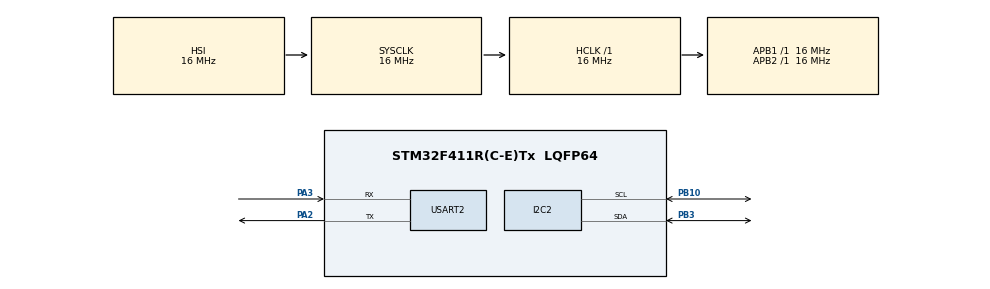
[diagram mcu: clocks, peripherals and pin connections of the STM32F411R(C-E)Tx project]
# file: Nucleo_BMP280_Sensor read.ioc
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Mcu.Family=STM32F4
Mcu.Name=STM32F411R(C-E)Tx
Mcu.Package=LQFP64
NVIC.PriorityGroup=NVIC_PRIORITYGROUP_4
PA2.Mode=Asynchronous
PA2.Signal=USART2_TX
PA3.Mode=Asynchronous
PA3.Signal=USART2_RX
PB10.Mode=I2C
PB10.Signal=I2C2_SCL
PB3.Mode=I2C
PB3.Signal=I2C2_SDA
ProjectManager.HeapSize=0x200
ProjectManager.StackSize=0x400
ProjectManager.TargetToolchain=STM32CubeIDE
RCC.AHBFreq_Value=16000000
RCC.APB1Freq_Value=16000000
RCC.APB2Freq_Value=16000000
RCC.CortexFreq_Value=16000000
RCC.HSE_VALUE=25000000
RCC.HSI_VALUE=16000000
RCC.LSE_VALUE=32768
RCC.SYSCLKFreq_VALUE=16000000
RCC.VCOOutputFreq_Value=192000000
USART2.VirtualMode=VM_ASYNC
board=custom

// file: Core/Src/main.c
/* USER CODE BEGIN Header */
/**
  ******************************************************************************
  * @file           : main.c
  * @brief          : Main program body
  ******************************************************************************
  * @attention
  *
  * Copyright (c) 2024 STMicroelectronics.
  * All rights reserved.
  *
  * This software is licensed under terms that can be found in the LICENSE file
  * in the root directory of this software component.
  * If no LICENSE file comes with this software, it is provided AS-IS.
  *
  ******************************************************************************
  */
/* USER CODE END Header */
#include "main.h"

/* USER CODE BEGIN Includes */
#include <math.h>
#include <string.h>
#include <stdio.h>
//#include "BMP280_STM32.h"
#include "BMP280_STM32.h"
/* USER CODE END Includes */

I2C_HandleTypeDef hi2c2;

UART_HandleTypeDef huart2;

/* USER CODE BEGIN PV */
char text2[250];

float Temperature, Pressure, Humidity;
uint8_t txt1[50] = " ";
uint8_t ack;
extern float temperature, pressure, altitude;
extern float init_height;
/* USER CODE END PV */

void SystemClock_Config(void);
static void MX_GPIO_Init(void);
static void MX_USART2_UART_Init(void);
static void MX_I2C2_Init(void);

/* USER CODE BEGIN 0 */
uint8_t string_compare(char array1[], char array2[], uint16_t lenght)
{
	 uint8_t comVAR=0, i;
	 for(i=0;i<lenght;i++)
	   	{
	   		  if(array1[i]==array2[i])
	   	  		  comVAR++;
	   	  	  else comVAR=0;
	   	}
	 if (comVAR==lenght)
		 	return 1;
	 else 	return 0;
}

// reverses a string 'str' of length 'len'
void reverse(char *str, int len)
{
    int i=0, j=len-1, temp;
    while (i<j)
    {
        temp = str[i];
        str[i] = str[j];
        str[j] = temp;
        i++; j--;
    }
}

 // Converts a given integer x to string str[].  d is the number
 // of digits required in output. If d is more than the number
 // of digits in x, then 0s are added at the beginning.
int intToStr(int x, char str[], int d)
{
    int i = 0;
    while (x)
    {
        str[i++] = (x%10) + '0';
        x = x/10;
    }

    // If number of digits required is more, then
    // add 0s at the beginning
    while (i < d)
        str[i++] = '0';

    reverse(str, i);
    str[i] = '\0';
    return i;
}

// Converts a floating point number to string.
void ftoa(float n, char *res, int afterpoint)
{
	unsigned char minus_flag = 0;
	if(n<0)
	{
		minus_flag = 1;
		n = -n;
	}

    // Extract integer part
    int ipart = (int)n;

    // Extract floating part
    float fpart = n - (float)ipart;

    // convert integer part to string
    int i = intToStr(ipart, res, 0);

    // check for display option after point
    if (afterpoint != 0)
    {
        res[i] = '.';  // add dot

        // Get the value of fraction part upto given no.
        // of points after dot. The third parameter is needed
        // to handle cases like 233.007
        fpart = fpart * pow(10, afterpoint);

        intToStr((int)fpart, res + i + 1, afterpoint);
    }

    char string[30];
    if(minus_flag==1)
    {
        memset(string, 0, 30);
        string[0]='-';
        if(n<1.0f)
        {
        	string[1]='0';
        	strcpy(&string[2], res);
        }else
        	strcpy(&string[1], res);

        memset(res, 0, strlen(res));
        strcpy(res, string);
    }else
    if(n<1.0f)
	{
		string[0]='0';
		strcpy(&string[1], res);
		memset(res, 0, strlen(res));
		strcpy(res, string);
	}
}
/* USER CODE END 0 */

int main(void)
{

  /* MCU Configuration--------------------------------------------------------*/

  /* Reset of all peripherals, Initializes the Flash interface and the Systick. */
  HAL_Init();

  /* Configure the system clock */
  SystemClock_Config();

  /* Initialize all configured peripherals */
  MX_GPIO_Init();
  MX_USART2_UART_Init();
  MX_I2C2_Init();
  /* USER CODE BEGIN 2 */
  sprintf((char*)txt1, "<<<<< BME280 READER INIT .. >>>>>");
  HAL_UART_Transmit(&huart2, txt1, strlen((char*)txt1), 0xffff);

	for(uint8_t address=0; address <128;address++)
	{
	  ack = HAL_I2C_IsDeviceReady(&hi2c2, address<<1, 3, 6);
	  if(ack == HAL_OK)
	  {
		  sprintf((char*)txt1, " I2C device address found : 0x%X\n\r", address<<1 );
		  HAL_UART_Transmit(&huart2, txt1, strlen((char*)txt1), 0xffff);
	  }
	}

  sprintf((char*)txt1, "<<<<< BME280 Configurations .. >>>>>");
  HAL_UART_Transmit(&huart2, txt1, strlen((char*)txt1), 0xffff);

  BMP280_init();

  char string[200];
        	while(1)
        	{
        	    BMP280_calc_values();

        	  if(HAL_GPIO_ReadPin(GPIOA, GPIO_PIN_0))
        	  init_height=altitude;
        	  memset(&string, 0, strlen(string));

        	  strcat(string, "Temperature:: ");
        	  ftoa(temperature, &string[strlen(string)], 3);
        	  strcat(string, " C\n");

        	  strcat(string, "Pressure: ");
        	  ftoa(pressure, &string[strlen(string)], 3);
        	  strcat(string, " Pa\n");

        	  strcat(string, "Altitude: ");
        	  ftoa(altitude, &string[strlen(string)], 3);
        	  strcat(string, " m\n");

        	  strcat(string, "Relative altitude:: ");
        	  ftoa(altitude-init_height, &string[strlen(string)], 3);
        	  strcat(string, " m\n\n\n");

        	  HAL_UART_Transmit(&huart2, string, strlen((char*)string), 0xffff);
        	  HAL_Delay(1500);
        	}
  /* USER CODE END 2 */

  /* Infinite loop */
  while (1)
  {

  }
}

void SystemClock_Config(void)
{
  RCC_OscInitTypeDef RCC_OscInitStruct = {0};
  RCC_ClkInitTypeDef RCC_ClkInitStruct = {0};

  /** Configure the main internal regulator output voltage
  */
  __HAL_RCC_PWR_CLK_ENABLE();
  __HAL_PWR_VOLTAGESCALING_CONFIG(PWR_REGULATOR_VOLTAGE_SCALE1);

  /** Initializes the RCC Oscillators according to the specified parameters
  * in the RCC_OscInitTypeDef structure.
  */
  RCC_OscInitStruct.OscillatorType = RCC_OSCILLATORTYPE_HSI;
  RCC_OscInitStruct.HSIState = RCC_HSI_ON;
  RCC_OscInitStruct.HSICalibrationValue = RCC_HSICALIBRATION_DEFAULT;
  RCC_OscInitStruct.PLL.PLLState = RCC_PLL_NONE;
  if (HAL_RCC_OscConfig(&RCC_OscInitStruct) != HAL_OK)
  {
    Error_Handler();
  }

  /** Initializes the CPU, AHB and APB buses clocks
  */
  RCC_ClkInitStruct.ClockType = RCC_CLOCKTYPE_HCLK|RCC_CLOCKTYPE_SYSCLK
                              |RCC_CLOCKTYPE_PCLK1|RCC_CLOCKTYPE_PCLK2;
  RCC_ClkInitStruct.SYSCLKSource = RCC_SYSCLKSOURCE_HSI;
  RCC_ClkInitStruct.AHBCLKDivider = RCC_SYSCLK_DIV1;
  RCC_ClkInitStruct.APB1CLKDivider = RCC_HCLK_DIV1;
  RCC_ClkInitStruct.APB2CLKDivider = RCC_HCLK_DIV1;

  if (HAL_RCC_ClockConfig(&RCC_ClkInitStruct, FLASH_LATENCY_0) != HAL_OK)
  {
    Error_Handler();
  }
}

static void MX_I2C2_Init(void)
{

  hi2c2.Instance = I2C2;
  hi2c2.Init.ClockSpeed = 100000;
  hi2c2.Init.DutyCycle = I2C_DUTYCYCLE_2;
  hi2c2.Init.OwnAddress1 = 0;
  hi2c2.Init.AddressingMode = I2C_ADDRESSINGMODE_7BIT;
  hi2c2.Init.DualAddressMode = I2C_DUALADDRESS_DISABLE;
  hi2c2.Init.OwnAddress2 = 0;
  hi2c2.Init.GeneralCallMode = I2C_GENERALCALL_DISABLE;
  hi2c2.Init.NoStretchMode = I2C_NOSTRETCH_DISABLE;
  if (HAL_I2C_Init(&hi2c2) != HAL_OK)
  {
    Error_Handler();
  }

}

static void MX_USART2_UART_Init(void)
{

  huart2.Instance = USART2;
  huart2.Init.BaudRate = 115200;
  huart2.Init.WordLength = UART_WORDLENGTH_8B;
  huart2.Init.StopBits = UART_STOPBITS_1;
  huart2.Init.Parity = UART_PARITY_NONE;
  huart2.Init.Mode = UART_MODE_TX_RX;
  huart2.Init.HwFlowCtl = UART_HWCONTROL_NONE;
  huart2.Init.OverSampling = UART_OVERSAMPLING_16;
  if (HAL_UART_Init(&huart2) != HAL_OK)
  {
    Error_Handler();
  }

}

static void MX_GPIO_Init(void)
{

  /* GPIO Ports Clock Enable */
  __HAL_RCC_GPIOA_CLK_ENABLE();
  __HAL_RCC_GPIOB_CLK_ENABLE();

}

void Error_Handler(void)
{
  __disable_irq();
  while (1)
  {
  }
}
